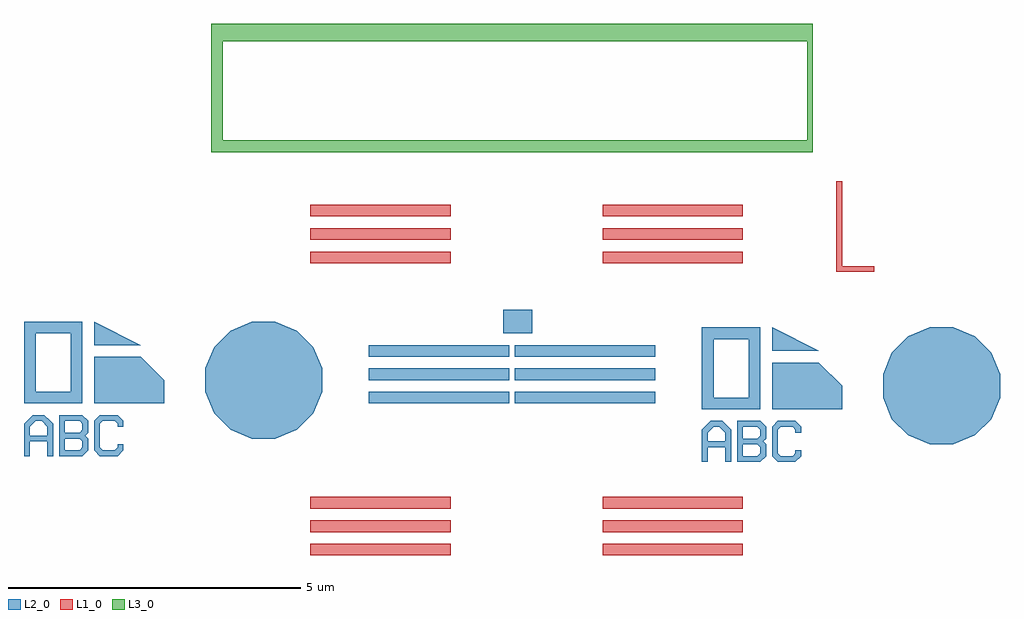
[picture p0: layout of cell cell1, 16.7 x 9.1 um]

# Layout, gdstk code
from math import pi, radians
import gdstk
lib = gdstk.Library(unit=1e-6, precision=1e-09)
def R(c, l, rs):  # rectangles x0, y0, x1, y1
    for r in rs: c.add(gdstk.rectangle(r[:2], r[2:], *l))
def P(c, l, *ps):  # polygons
    for p in ps: c.add(gdstk.Polygon(p, *l))
L1_0 = (1, 0)
L2_0 = (2, 0)
L3_0 = (3, 0)

cell2 = lib.new_cell('cell2')
R(cell2, L2_0, [(-1,-1,1.4,-0.8)])

cell0 = lib.new_cell('cell0')
cell0.add(gdstk.Reference(cell2, (1,1.2), rotation=pi))
cell0.add(gdstk.Reference(cell2, (1,0.8), rotation=pi))
cell0.add(gdstk.Reference(cell2, (1,0.4), rotation=pi))

cell2_1 = lib.new_cell('cell2$1')
R(cell2_1, L1_0, [(-1,-1,1.4,-0.8)])

cell0_1 = lib.new_cell('cell0$1')
cell0_1.add(gdstk.Reference(cell2_1, (1,1.2), rotation=pi))
cell0_1.add(gdstk.Reference(cell2_1, (1,0.8), rotation=pi))
cell0_1.add(gdstk.Reference(cell2_1, (1,0.4), rotation=pi))

text = lib.new_cell('TEXT')
P(text, L2_0, [(0,0),(0,0.55),(0.15,0.7),(0.35,0.7),(0.45,0.6),(0.2,0.6),(0.1,0.5),(0.1,0.35),(0.4,0.35),(0.4,0.5),(0.3,0.6),(0.45,0.6),(0.5,0.55),(0.5,0),(0.4,0),(0.4,0.25),(0.1,0.25),(0.1,0)],
  [(0.6,0),(0.6,0.7),(1,0.7),(1.1,0.6),(0.7,0.6),(0.7,0.4),(0.95,0.4),(1,0.45),(1,0.55),(0.95,0.6),(1.1,0.6),(1.1,0.4),(1.05,0.35),(1.1,0.3),(0.7,0.3),(0.7,0.1),(0.95,0.1),(1,0.15),(1,0.25),(0.95,0.3),(1.1,0.3),(1.1,0.1),(1,0)],
  [(1.3,0),(1.2,0.1),(1.2,0.6),(1.3,0.7),(1.6,0.7),(1.7,0.6),(1.7,0.5),(1.6,0.5),(1.6,0.55),(1.55,0.6),(1.35,0.6),(1.3,0.55),(1.3,0.15),(1.35,0.1),(1.55,0.1),(1.6,0.15),(1.6,0.2),(1.7,0.2),(1.7,0.1),(1.6,0)])

circle = lib.new_cell('CIRCLE')
P(circle, L2_0, [(-0.199,-1),(-0.566,-0.848),(-0.848,-0.566),(-1,-0.199),(-1,0.199),(-0.848,0.566),(-0.566,0.848),(-0.199,1),(0.199,1),(0.566,0.848),(0.848,0.566),(1,0.199),(1,-0.199),(0.848,-0.566),(0.566,-0.848),(0.199,-1)])

cell3 = lib.new_cell('cell3')
P(cell3, L2_0, [(-0.4,0),(-0.4,0.8),(0.4,0.8),(0.8,0.4),(0.8,0)],
  [(-0.4,1),(-0.4,1.4),(0.4,1)],
  [(-1.6,0),(-1.6,1.2),(-1.4,1.2),(-1.4,0.2),(-0.8,0.2),(-0.8,1.2),(-1.6,1.2),(-1.6,1.4),(-0.6,1.4),(-0.6,0)])
cell3.add(gdstk.Reference(text, (-1.6,-0.9)))
cell3.add(gdstk.Reference(circle, (2.5,0.4), rotation=pi))
cell3.add(gdstk.Label('ABC', (-1.6,-0.2), layer=2, texttype=0))
cell3.add(gdstk.Label('ABC', (-1.6,-0.2), layer=2, texttype=0))

cell1 = lib.new_cell('cell1')
P(cell1, L1_0, [(6.7,2.05),(6.7,3.6),(6.8,3.6),(6.8,2.15),(7.35,2.15),(7.35,2.05)])
R(cell1, L2_0, [(1,1,1.5,1.4), (1,1,1.5,1.4)])
P(cell1, L3_0, [(-4,4.1),(-4,6),(-3.8,6),(-3.8,4.3),(6.2,4.3),(6.2,6),(-4,6),(-4,6.3),(6.3,6.3),(6.3,4.1)])
r = gdstk.Reference(cell0, (0.7,2), rotation=pi); r.repetition = gdstk.Repetition(1, 1, v1=(0,0), v2=(0,0)); cell1.add(r)
r = gdstk.Reference(cell0, (3.2,2), rotation=pi); r.repetition = gdstk.Repetition(1, 1, v1=(0,0), v2=(0,0)); cell1.add(r)
r = gdstk.Reference(cell0_1, (4.7,4.4), rotation=pi); r.repetition = gdstk.Repetition(2, 2, v1=(-5,0), v2=(0,-5)); cell1.add(r)
cell1.add(gdstk.Reference(cell3, (-5.6,-0.2)))
cell1.add(gdstk.Reference(cell3, (6,-0.3)))

lib.write_gds('cell1.gds')
